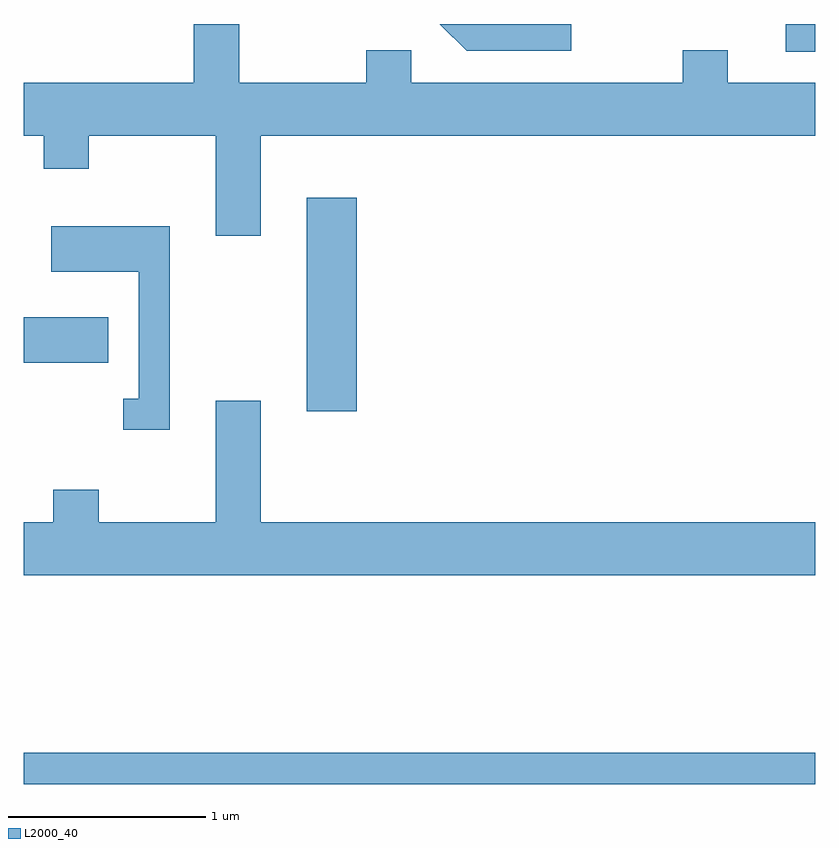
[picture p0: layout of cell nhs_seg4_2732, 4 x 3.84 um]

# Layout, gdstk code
import gdstk
lib = gdstk.Library(unit=1e-6, precision=1e-09)
def R(c, l, rs):  # rectangles x0, y0, x1, y1
    for r in rs: c.add(gdstk.rectangle(r[:2], r[2:], *l))
def P(c, l, *ps):  # polygons
    for p in ps: c.add(gdstk.Polygon(p, *l))
L2000_40 = (2000, 40)

nhs_seg4_2732 = lib.new_cell('nhs_seg4_2732')
R(nhs_seg4_2732, L2000_40, [(265.611,1278.141,269.611,1278.299), (267.041,1280.026,267.294,1281.104), (265.611,1280.271,266.039,1280.499), (269.461,1281.841,269.611,1281.982)])
P(nhs_seg4_2732, L2000_40, [(266.809,1281.416),(269.611,1281.416),(269.611,1281.684),(269.169,1281.684),(269.169,1281.849),(268.941,1281.849),(268.941,1281.684),(267.569,1281.684),(267.569,1281.849),(267.341,1281.849),(267.341,1281.684),(266.699,1281.684),(266.699,1281.982),(266.471,1281.982),(266.471,1281.684),(265.611,1281.684),(265.611,1281.416),(265.711,1281.416),(265.711,1281.251),(265.939,1281.251),(265.939,1281.416),(266.581,1281.416),(266.581,1280.911),(266.809,1280.911)],
  [(268.378,1281.982),(267.713,1281.982),(267.849,1281.846),(268.378,1281.846)],
  [(266.349,1280.959),(265.751,1280.959),(265.751,1280.731),(266.191,1280.731),(266.191,1280.089),(266.113,1280.089),(266.113,1279.931),(266.349,1279.931)],
  [(269.611,1279.464),(266.809,1279.464),(266.809,1280.079),(266.581,1280.079),(266.581,1279.464),(265.989,1279.464),(265.989,1279.629),(265.761,1279.629),(265.761,1279.464),(265.611,1279.464),(265.611,1279.196),(269.611,1279.196)])

lib.write_gds('nhs_seg4_2732.gds')
